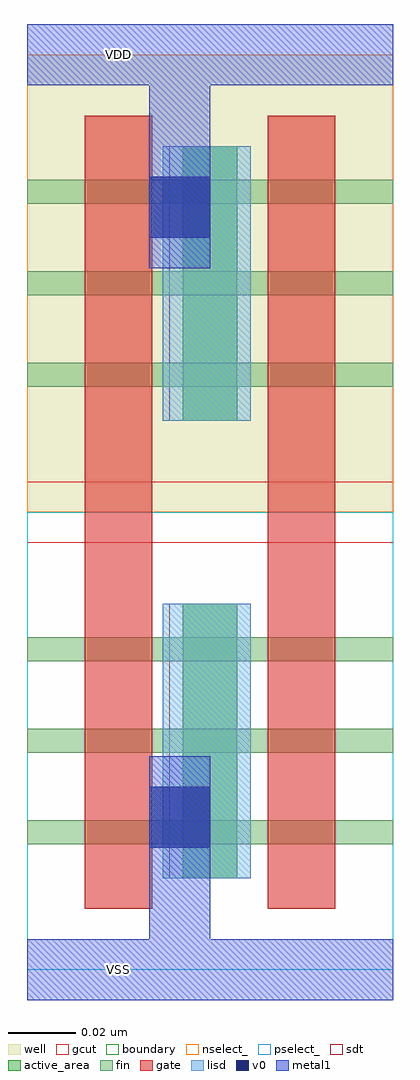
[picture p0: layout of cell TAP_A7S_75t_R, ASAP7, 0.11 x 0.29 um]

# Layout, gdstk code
import gdstk
lib = gdstk.Library(unit=1e-6, precision=2.5e-10)
def R(c, l, rs):  # rectangles x0, y0, x1, y1
    for r in rs: c.add(gdstk.rectangle(r[:2], r[2:], *l))
def A(c, l, x, y, w, h, nx, ny, dx, dy):  # array of equal rectangles
    R(c, l, [(x+i*dx, y+j*dy, x+i*dx+w, y+j*dy+h) for i in range(nx) for j in range(ny)])
well = (1, 0)
fin = (2, 0)
gate = (7, 0)
gcut = (10, 0)
active_area = (11, 0)
nselect_ = (12, 0)
pselect_ = (13, 0)
lisd = (17, 0)
v0 = (18, 0)
metal1 = (19, 0)
sdt = (88, 0)
boundary = (100, 0)

tap_a7s_75t_r = lib.new_cell('TAP_A7S_75t_R')
R(tap_a7s_75t_r, well, [(0,0.135,0.108,0.27)])
A(tap_a7s_75t_r, fin, 0, 0.037, 0.108, 0.007, 1, 3, 0, 0.027)
A(tap_a7s_75t_r, fin, 0, 0.172, 0.108, 0.007, 1, 3, 0, 0.027)
R(tap_a7s_75t_r, gate, [(0.017,0.018,0.037,0.252), (0.071,0.018,0.091,0.252)])
R(tap_a7s_75t_r, gcut, [(0,0.126,0.054,0.144), (0.054,0.126,0.108,0.144)])
R(tap_a7s_75t_r, active_area, [(0.046,0.027,0.062,0.108), (0.046,0.162,0.062,0.243)])
R(tap_a7s_75t_r, nselect_, [(0,0.135,0.108,0.27)])
R(tap_a7s_75t_r, pselect_, [(0,0,0.108,0.135)])
R(tap_a7s_75t_r, lisd, [(0.04,0.027,0.066,0.108), (0.04,0.162,0.066,0.243)])
R(tap_a7s_75t_r, v0, [(0.036,0.036,0.054,0.054), (0.036,0.216,0.054,0.234)])
R(tap_a7s_75t_r, metal1, [(0,-0.009,0.108,0.009), (0.036,0.009,0.054,0.063), (0.036,0.207,0.054,0.261), (0,0.261,0.108,0.279)])
R(tap_a7s_75t_r, sdt, [(0.042,0.027,0.066,0.108), (0.042,0.162,0.066,0.243)])
R(tap_a7s_75t_r, boundary, [(0,0,0.108,0.27)])
tap_a7s_75t_r.add(gdstk.Label('VSS', (0.027,0), layer=19, texttype=251))
tap_a7s_75t_r.add(gdstk.Label('VDD', (0.027,0.27), layer=19, texttype=251))

lib.write_gds('TAP_A7S_75t_R.gds')
